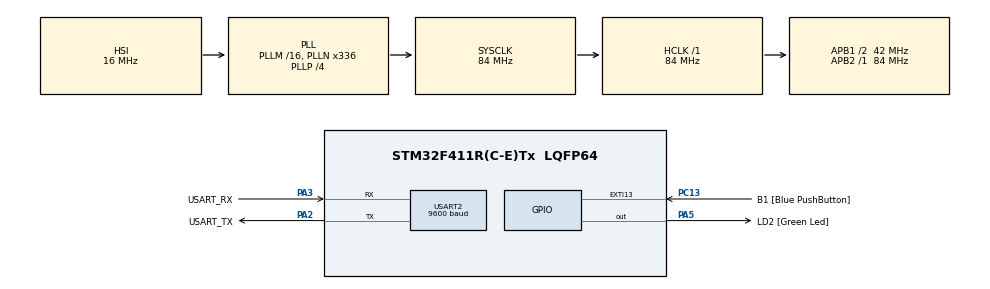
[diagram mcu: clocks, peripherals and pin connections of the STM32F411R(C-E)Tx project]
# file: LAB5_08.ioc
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Dma.Request0=USART2_RX
Dma.Request1=USART2_TX
Dma.USART2_RX.0.Direction=DMA_PERIPH_TO_MEMORY
Dma.USART2_RX.0.FIFOMode=DMA_FIFOMODE_DISABLE
Dma.USART2_RX.0.Instance=DMA1_Stream5
Dma.USART2_RX.0.MemDataAlignment=DMA_MDATAALIGN_BYTE
Dma.USART2_RX.0.MemInc=DMA_MINC_ENABLE
Dma.USART2_RX.0.Mode=DMA_CIRCULAR
Dma.USART2_RX.0.PeriphDataAlignment=DMA_PDATAALIGN_BYTE
Dma.USART2_RX.0.PeriphInc=DMA_PINC_DISABLE
Dma.USART2_RX.0.Priority=DMA_PRIORITY_LOW
Dma.USART2_TX.1.Direction=DMA_MEMORY_TO_PERIPH
Dma.USART2_TX.1.FIFOMode=DMA_FIFOMODE_DISABLE
Dma.USART2_TX.1.Instance=DMA1_Stream6
Dma.USART2_TX.1.MemDataAlignment=DMA_MDATAALIGN_BYTE
Dma.USART2_TX.1.MemInc=DMA_MINC_ENABLE
Dma.USART2_TX.1.Mode=DMA_NORMAL
Dma.USART2_TX.1.PeriphDataAlignment=DMA_PDATAALIGN_BYTE
Dma.USART2_TX.1.PeriphInc=DMA_PINC_DISABLE
Dma.USART2_TX.1.Priority=DMA_PRIORITY_LOW
Mcu.Family=STM32F4
Mcu.Name=STM32F411R(C-E)Tx
Mcu.Package=LQFP64
NVIC.DMA1_Stream5_IRQn=true\:0\:0\:false\:false\:true\:false\:true\:true
NVIC.DMA1_Stream6_IRQn=true\:0\:0\:false\:false\:true\:false\:true\:true
NVIC.PriorityGroup=NVIC_PRIORITYGROUP_0
NVIC.USART2_IRQn=true\:0\:0\:false\:false\:true\:true\:true\:true
PA13.GPIO_Label=TMS
PA13.Mode=Serial_Wire
PA13.Signal=SYS_JTMS-SWDIO
PA14.GPIO_Label=TCK
PA14.Mode=Serial_Wire
PA14.Signal=SYS_JTCK-SWCLK
PA2.GPIO_Label=USART_TX
PA2.Mode=Asynchronous
PA2.Signal=USART2_TX
PA3.GPIO_Label=USART_RX
PA3.Mode=Asynchronous
PA3.Signal=USART2_RX
PA5.GPIO_Label=LD2 [Green Led]
PA5.Signal=GPIO_Output
PB3.GPIO_Label=SWO
PB3.Signal=SYS_JTDO-SWO
PC13-ANTI_TAMP.GPIO_Label=B1 [Blue PushButton]
PC13-ANTI_TAMP.GPIO_ModeDefaultEXTI=GPIO_MODE_IT_FALLING
PC13-ANTI_TAMP.Signal=GPXTI13
PC14-OSC32_IN.Mode=LSE-External-Oscillator
PC14-OSC32_IN.Signal=RCC_OSC32_IN
PC15-OSC32_OUT.Mode=LSE-External-Oscillator
PC15-OSC32_OUT.Signal=RCC_OSC32_OUT
PH0\ -\ OSC_IN.Mode=HSE-External-Clock-Source
PH0\ -\ OSC_IN.Signal=RCC_OSC_IN
PH1\ -\ OSC_OUT.Mode=HSE-External-Clock-Source
PH1\ -\ OSC_OUT.Signal=RCC_OSC_OUT
ProjectManager.HeapSize=0x200
ProjectManager.StackSize=0x400
ProjectManager.TargetToolchain=STM32CubeIDE
RCC.48MHZClocksFreq_Value=84000000
RCC.AHBFreq_Value=84000000
RCC.APB1CLKDivider=RCC_HCLK_DIV2
RCC.APB1Freq_Value=42000000
RCC.APB1TimFreq_Value=84000000
RCC.APB2Freq_Value=84000000
RCC.APB2TimFreq_Value=84000000
RCC.CortexFreq_Value=84000000
RCC.FLatency-AdvancedSettings=FLASH_LATENCY_2
RCC.HCLKFreq_Value=84000000
RCC.HSE_VALUE=8000000
RCC.HSI_VALUE=16000000
RCC.PLLN=336
RCC.PLLP=RCC_PLLP_DIV4
RCC.SYSCLKFreq_VALUE=84000000
RCC.SYSCLKSource=RCC_SYSCLKSOURCE_PLLCLK
RCC.VCOOutputFreq_Value=336000000
USART2.BaudRate=9600
USART2.VirtualMode=VM_ASYNC
board=NUCLEO-F411RE

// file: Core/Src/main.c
/* USER CODE BEGIN Header */
/**
  ******************************************************************************
  * @file           : main.c
  * @brief          : Main program body
  ******************************************************************************
  * @attention
  *
  * Copyright (c) 2023 STMicroelectronics.
  * All rights reserved.
  *
  * This software is licensed under terms that can be found in the LICENSE file
  * in the root directory of this software component.
  * If no LICENSE file comes with this software, it is provided AS-IS.
  *
  ******************************************************************************
  */
/* USER CODE END Header */
#include "main.h"

/* USER CODE BEGIN Includes */
#include "stdio.h"
#include "string.h"
/* USER CODE END Includes */

UART_HandleTypeDef huart2;
DMA_HandleTypeDef hdma_usart2_rx;
DMA_HandleTypeDef hdma_usart2_tx;

/* USER CODE BEGIN PV */

struct _GPIOState
{
	GPIO_PinState Current;
	GPIO_PinState Last;
};
// declare variable
struct _GPIOState Button1;
int menu = 2 ;
int delaytime = 100;
int frequency = 5;
int LED = 0;

uint8_t RxBuffer[2];
uint8_t TxBuffer[100];
uint8_t TextBuffer[500];

/* USER CODE END PV */

void SystemClock_Config(void);
static void MX_GPIO_Init(void);
static void MX_DMA_Init(void);
static void MX_USART2_UART_Init(void);
/* USER CODE BEGIN PFP */
//void UARTPollingMethod();
void ReadButton1();
void ClickButton();
void DummyTask();
void UARTDMAConfig();
/* USER CODE END PFP */

int main(void)
{

  /* MCU Configuration--------------------------------------------------------*/

  /* Reset of all peripherals, Initializes the Flash interface and the Systick. */
  HAL_Init();

  /* Configure the system clock */
  SystemClock_Config();

  /* Initialize all configured peripherals */
  MX_GPIO_Init();
  MX_DMA_Init();
  MX_USART2_UART_Init();
  /* USER CODE BEGIN 2 */

//	  uint8_t text[] = "HELLO FIBO";
//	  HAL_UART_Transmit(&huart2, text, 11, 10);

  UARTInterruptConfig();
  /* USER CODE END 2 */

  /* Infinite loop */
  /* USER CODE BEGIN WHILE */
  while (1)
  {
	  ReadButton1();
	  if(LED == 1)
	  {
		  DummyTask();
	  }

    /* USER CODE END WHILE */

  }
}

void SystemClock_Config(void)
{
  RCC_OscInitTypeDef RCC_OscInitStruct = {0};
  RCC_ClkInitTypeDef RCC_ClkInitStruct = {0};

  /** Configure the main internal regulator output voltage
  */
  __HAL_RCC_PWR_CLK_ENABLE();
  __HAL_PWR_VOLTAGESCALING_CONFIG(PWR_REGULATOR_VOLTAGE_SCALE1);

  /** Initializes the RCC Oscillators according to the specified parameters
  * in the RCC_OscInitTypeDef structure.
  */
  RCC_OscInitStruct.OscillatorType = RCC_OSCILLATORTYPE_HSI;
  RCC_OscInitStruct.HSIState = RCC_HSI_ON;
  RCC_OscInitStruct.HSICalibrationValue = RCC_HSICALIBRATION_DEFAULT;
  RCC_OscInitStruct.PLL.PLLState = RCC_PLL_ON;
  RCC_OscInitStruct.PLL.PLLSource = RCC_PLLSOURCE_HSI;
  RCC_OscInitStruct.PLL.PLLM = 16;
  RCC_OscInitStruct.PLL.PLLN = 336;
  RCC_OscInitStruct.PLL.PLLP = RCC_PLLP_DIV4;
  RCC_OscInitStruct.PLL.PLLQ = 4;
  if (HAL_RCC_OscConfig(&RCC_OscInitStruct) != HAL_OK)
  {
    Error_Handler();
  }

  /** Initializes the CPU, AHB and APB buses clocks
  */
  RCC_ClkInitStruct.ClockType = RCC_CLOCKTYPE_HCLK|RCC_CLOCKTYPE_SYSCLK
                              |RCC_CLOCKTYPE_PCLK1|RCC_CLOCKTYPE_PCLK2;
  RCC_ClkInitStruct.SYSCLKSource = RCC_SYSCLKSOURCE_PLLCLK;
  RCC_ClkInitStruct.AHBCLKDivider = RCC_SYSCLK_DIV1;
  RCC_ClkInitStruct.APB1CLKDivider = RCC_HCLK_DIV2;
  RCC_ClkInitStruct.APB2CLKDivider = RCC_HCLK_DIV1;

  if (HAL_RCC_ClockConfig(&RCC_ClkInitStruct, FLASH_LATENCY_2) != HAL_OK)
  {
    Error_Handler();
  }
}

static void MX_USART2_UART_Init(void)
{

  huart2.Instance = USART2;
  huart2.Init.BaudRate = 9600;
  huart2.Init.WordLength = UART_WORDLENGTH_8B;
  huart2.Init.StopBits = UART_STOPBITS_1;
  huart2.Init.Parity = UART_PARITY_NONE;
  huart2.Init.Mode = UART_MODE_TX_RX;
  huart2.Init.HwFlowCtl = UART_HWCONTROL_NONE;
  huart2.Init.OverSampling = UART_OVERSAMPLING_16;
  if (HAL_UART_Init(&huart2) != HAL_OK)
  {
    Error_Handler();
  }

}

static void MX_DMA_Init(void)
{

  /* DMA controller clock enable */
  __HAL_RCC_DMA1_CLK_ENABLE();

  /* DMA interrupt init */
  /* DMA1_Stream5_IRQn interrupt configuration */
  HAL_NVIC_SetPriority(DMA1_Stream5_IRQn, 0, 0);
  HAL_NVIC_EnableIRQ(DMA1_Stream5_IRQn);
  /* DMA1_Stream6_IRQn interrupt configuration */
  HAL_NVIC_SetPriority(DMA1_Stream6_IRQn, 0, 0);
  HAL_NVIC_EnableIRQ(DMA1_Stream6_IRQn);

}

static void MX_GPIO_Init(void)
{
  GPIO_InitTypeDef GPIO_InitStruct = {0};

  /* GPIO Ports Clock Enable */
  __HAL_RCC_GPIOC_CLK_ENABLE();
  __HAL_RCC_GPIOH_CLK_ENABLE();
  __HAL_RCC_GPIOA_CLK_ENABLE();
  __HAL_RCC_GPIOB_CLK_ENABLE();

  /*Configure GPIO pin Output Level */
  HAL_GPIO_WritePin(LD2_GPIO_Port, LD2_Pin, GPIO_PIN_RESET);

  /*Configure GPIO pin : B1_Pin */
  GPIO_InitStruct.Pin = B1_Pin;
  GPIO_InitStruct.Mode = GPIO_MODE_IT_FALLING;
  GPIO_InitStruct.Pull = GPIO_NOPULL;
  HAL_GPIO_Init(B1_GPIO_Port, &GPIO_InitStruct);

  /*Configure GPIO pin : LD2_Pin */
  GPIO_InitStruct.Pin = LD2_Pin;
  GPIO_InitStruct.Mode = GPIO_MODE_OUTPUT_PP;
  GPIO_InitStruct.Pull = GPIO_NOPULL;
  GPIO_InitStruct.Speed = GPIO_SPEED_FREQ_LOW;
  HAL_GPIO_Init(LD2_GPIO_Port, &GPIO_InitStruct);

}

/* USER CODE BEGIN 4 */
//void UARTPollingMethod()
//{
//	HAL_StatusTypeDef HAL_status = HAL_UART_Receive(&huart2, RxBuffer, 10,
//			10000);
//	if (HAL_status == HAL_OK) {
//		RxBuffer[10] = '\0';
//		sprintf((char*) , "Received : %s\r\n", RxBuffer);
//		HAL_UART_Transmit(&huart2, , strlen((char*) ), 10);
//	} else if (HAL_status == HAL_TIMEOUT) {
//		uint32_t lastCharPos = huart2.RxXferSize - huart2.RxXferCount;
//		RxBuffer[lastCharPos] = '\0';
//
//		sprintf((char*), "Received Timeout : %s\r\n", RxBuffer);
//		HAL_UART_Transmit(&huart2, , strlen((char*)), 10);
//	}
//}

//default 5Hz
void DummyTask()
{
	static uint32_t timestamp = 0;
	if (HAL_GetTick() >= timestamp) {
		timestamp = HAL_GetTick() + delaytime;
		HAL_GPIO_TogglePin(LD2_GPIO_Port, LD2_Pin);
	}
}

void ReadButton1() {
		Button1.Current = HAL_GPIO_ReadPin(GPIOC, GPIO_PIN_13);
		if (Button1.Current == GPIO_PIN_RESET && Button1.Last == GPIO_PIN_SET )
		{
			if(menu == 2)
			{
				menu = 0;
			}
			else if (menu == 0)
			{
				menu = 1;
			}
			else if (menu == 1)
			{
				menu = 0;
			}

			switch(menu)
			{
			case 0:
				sprintf((char*)TextBuffer, "\r\n\----------------------------------\r\n\     Menu 0 :  LED Control\r\n   a: Speed Up   +1Hz\r\n   s: Speed Down -1Hz\r\n   d: On/Off\r\n   x: Back\r\n----------------------------------\r\n\0");
				HAL_UART_Transmit_IT(&huart2,TextBuffer, strlen((char*)TextBuffer));
				break;
			case 1:
				sprintf((char*)TextBuffer, "\r\n\----------------------------------\r\n\     Menu 1 : Button Status\r\n   x: Back\r\n   Button 1 Pressed | LED %d\r\n----------------------------------\r\n\0",LED);
				HAL_UART_Transmit_IT(&huart2,TextBuffer, strlen((char*)TextBuffer));
				break;
			case 2:
				sprintf((char*)TextBuffer, "\r\n\----------------------------------\r\n     Unpressed\r\n\0");
				HAL_UART_Transmit_IT(&huart2,TextBuffer, strlen((char*)TextBuffer));
				break;
			}
		}
		Button1.Last = Button1.Current;

}

void UARTInterruptConfig()
{
	HAL_UART_Receive_IT(&huart2, RxBuffer, 1);
}

void HAL_UART_RxCpltCallback(UART_HandleTypeDef *huart)
{
	if (huart == &huart2)
	{
		RxBuffer[1] = '\0';
		sprintf((char*)TxBuffer, "Received : %s\r\n\0", RxBuffer);
		HAL_UART_Transmit_IT(&huart2, TxBuffer , strlen((char*)TxBuffer));

		HAL_UART_Receive_IT(&huart2, RxBuffer, 1);
	}

	if (menu == 0)
	{
		switch(RxBuffer[0])
		{
			case 'a':
				frequency += 1 ;
				delaytime = 1000 / (frequency *2);
				sprintf((char*)TxBuffer, "\r\nFrequency %d   \0",frequency);
				HAL_UART_Transmit_IT(&huart2, TxBuffer , strlen((char*)TxBuffer));
				RxBuffer[0] = ' ';
				break;
			case 's':
				frequency -= 1 ;
				if (frequency <= 1)
				{
					frequency = 1;
				}
				delaytime = 1000 / (frequency *2);
				sprintf((char*)TxBuffer, "\r\nFrequency %d   \0",frequency);
				HAL_UART_Transmit_IT(&huart2, TxBuffer , strlen((char*)TxBuffer));
				RxBuffer[0] = ' ';
				break;
			case 'd':
				if (LED == 0)
				{
					LED = 1;
				    sprintf((char*)TxBuffer, "\r\nLED On     \0");
				    HAL_UART_Transmit_IT(&huart2, TxBuffer , strlen((char*)TxBuffer));
				}
				else if(LED == 1)
				{
					LED = 0;
				    sprintf((char*)TxBuffer, "\r\nLED Off     \0");
				    HAL_UART_Transmit_IT(&huart2, TxBuffer , strlen((char*)TxBuffer));
				}
//			    RxBuffer[0] = ' ';
				break;
			case 'x':
				sprintf((char*)TxBuffer, "\r\nUnpresse    \0");
				HAL_UART_Transmit_IT(&huart2, TxBuffer, strlen((char*)TxBuffer));
				menu = 2;
			break;
			default :
				sprintf((char*)TxBuffer, "\r\nWrong Button     \0",frequency);
				HAL_UART_Transmit_IT(&huart2, TxBuffer , strlen((char*)TxBuffer));
			break;
	}
	}
	else if(menu = 1)
	{
		switch (RxBuffer[0])
		{
			case 'x':
			sprintf((char*)TxBuffer, "\r\nUnpressed     \0");
			HAL_UART_Transmit_IT(&huart2, TxBuffer, strlen((char*)TxBuffer));
			menu = 2;
			break;

			default :
				sprintf((char*)TxBuffer, "\r\nWrong Button     \0",frequency);
				HAL_UART_Transmit_IT(&huart2, TxBuffer , strlen((char*)TxBuffer));
			break;
		}
	}
}

/* USER CODE END 4 */

void Error_Handler(void)
{
  __disable_irq();
  while (1)
  {
  }
}
